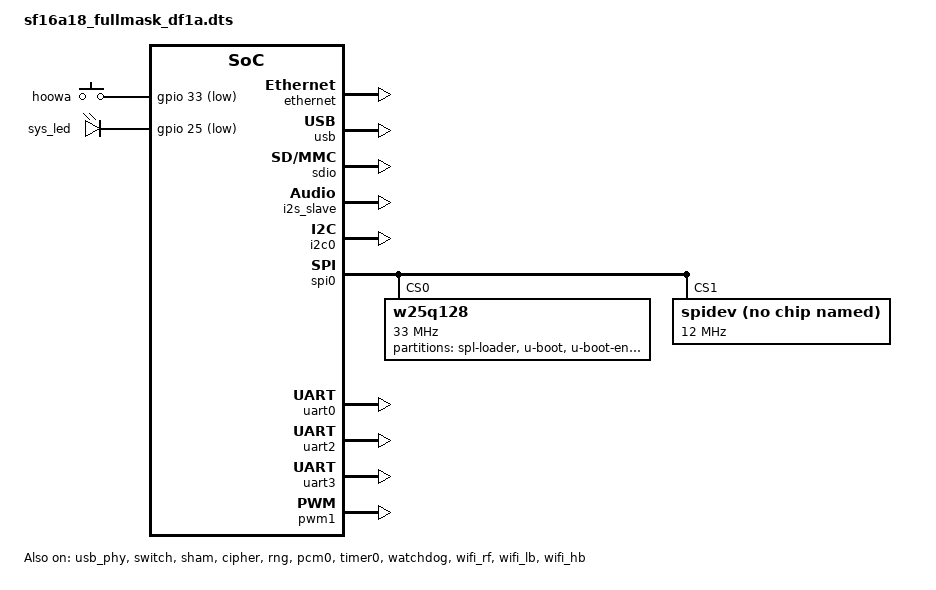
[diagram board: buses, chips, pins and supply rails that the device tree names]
/dts-v1/;

#include "sf16a18_full_mask.dtsi"
#include "sf16a18-thermal.dtsi"


/ {
	#address-cells = <1>;
	#size-cells = <1>;
	compatible = "siflower,sf16a18-soc";

	eth0-led {
		compatible = "eth-led";
		pinctrl-names = "default",  "gpio";
		pinctrl-0 = <&eth0_led>;
		pinctrl-1 = <&eth0_led_gpio>;
		eth0 {
			label = "eth_led0";
			gpios = <&gpio 55 1>;
			default-state = "on";
		};
	};

	eth1-led {
		compatible = "eth-led";
		pinctrl-names = "default",  "gpio";
		pinctrl-0 = <&eth1_led>;
		pinctrl-1 = <&eth1_led_gpio>;
		eth1 {
			label = "eth_led1";
			gpios = <&gpio 56 1>;
			default-state = "on";
		};
	};

        eth2-led {
                compatible = "eth-led";
                pinctrl-names = "default",  "gpio";
                pinctrl-0 = <&eth2_led>;
                pinctrl-1 = <&eth2_led_gpio>;
                eth2 {
                        label = "eth_led2";
                        gpios = <&gpio 57 1>;
                        default-state = "on";
                };
        };

};

/* 启用USB PHY */
&usb_phy{
	status = "okay";
};

/* 芯片内置以太网划分 */
&ethernet {
	shutdown-portlist = "wll**";
        led-on-off-time = /bits/ 16 <0xff 0x2ff>;
	status = "okay";
	smp-affinity = <2>;
};

&switch{
	sfax8,port-map = "wll**";
	status = "okay";
	smp-affinity = <2>;
};

&sham {
	status = "okay";
};

&cipher {
	status = "okay";
};

&rng {
	status = "okay";
};

&gdma {
	status = "okay";
};

/* USB接口 */
&usb {
	status = "okay";
};

/* EMMC存储器，DF1A没有 */
&emmc {
	status = "disabled";
};

/* SD1接口，用作TF卡 */
&sdio {
	status = "okay";
};

/* IIS1=31 32 (RS485冲突)   33 34 35(PG3组的GPIO冲突)，关闭 */
&i2s_master {
	status = "disabled";
};

/* IIS0=26 27 28 29 30，PG2组，保留IIS0功能 */
&i2s_slave {
	status = "okay";
};

/* This is used to set voltage during dvfs.
 * You should first know which pmu is in use, and
 * remove the default core-voltage set in pmu dts.
 */
/*
&cpu0 {
       cpu0-supply = <&rn5t567_core>;
       dcdc0-maxv = <1000000>;
};
*/


/* I2C0=20 21 启用PG1 */
&i2c0 {
	status = "okay";
	#address-cells = <1>;
	#size-cells = <0>;
/*	/include/	"sf16a18_pmu.dtsi"*/
};

/* I2C1=22 23(PG1组UART2冲突)，关闭 */
&i2c1 {
	status = "disabled";
};

/* I2C2=24 25(与32Khz和SYS_LED冲突)，关闭 */
&i2c2 {
	status = "disabled";
};

&spi0 {
	status = "okay";
	//use-dma;
	dmas = <&gdma 10
	&gdma 11>;
	dma-names = "tx", "rx";

	#address-cells = <1>;
	#size-cells = <0>;

	w25q128@0 {
		compatible = "w25q128";
		reg = <0>;	/* chip select */
		spi-max-frequency = <33000000>;

		bank-width = <2>;
		device-width = <2>;
		#address-cells = <1>;
		#size-cells = <1>;

		partition@0 {
			label = "spl-loader";
			reg = <0x0 0x20000>; /* 128k */
			read-only;
		};

		partition@20000 {
			label = "u-boot";
			reg = <0x20000 0x60000>; /* 384k */
		};

		partition@80000 {
			label = "u-boot-env";
			reg = <0x80000 0x10000>; /* 64k */
		};

		factory:partition@90000 {
			label = "factory";
			reg = <0x90000 0x10000>; /* 64k */
		};

		partition@a0000 {
			label = "firmware";
			reg = <0xa0000 0xf60000>; /* 640k-16M */
		};
	};

	spidev: spi@8200000 {
		compatible = "rohm,dh2228fv";
		reg = <1>;
		clock = <50000000>;
		spi-cpha;
		spi-cpol;
		spi-max-frequency=<12000000>;
	};
};

/* 核心板调试接口 */
&uart0 {
	status = "okay";
};

/* IO 26 27 28 29 30，与IIS0定义为PG2组冲突，关闭 */
&uart1 {
	status = "disabled";
};

/* IO 22 23 24 25，只启用22 23两个IO(PG1组)，24 25(与32Khz、SYS_LED冲突，不启用) */
&uart2 {
	pinctrl-0 = <&uart2_tx &uart2_rx>;
	status = "okay";
};

/* IO 31 32 34 35 只启用31 32 RS485接口，34 35(与PG3组的GPIO冲突，不启用) */
&uart3 {
	pinctrl-0 = <&uart3_tx &uart3_rx>;
	status = "okay";
};

/* 参考iis0的说明，不知道为啥i2s和pcm0都一起启动了(PG2组) */
&pcm0 {
	status = "okay";
};

/* 与WIFI_LED冲突disable */
&pwm0 {
	status = "disabled";
};

/* IO 37 启用在PG3组的PWM1 */
&pwm1 {
	status = "okay";
};

&timer0 {
	status = "okay";
};

&watchdog {
	status = "okay";
};

/* IO 35(与PG3组冲突) 62 ，关闭 */
&spdif
{
	status = "disabled";
};

&wifi_rf {
	status = "okay";
	gpio-expa = <&gpio 51 0>;
	/*for new evb board,gpio use different map with that in p10h board*/
	expa_map_type = <2>;
};

&wifi_lb {
	status = "okay";

	#address-cells = <1>;
	#size-cells = <0>;
	gpio-leds = <&gpio 36 0>;
	smp-affinity = <2>;
};

&wifi_hb {
	status = "okay";

	#address-cells = <1>;
	#size-cells = <0>;
	gpio-leds = <&gpio 36 0>;
	smp-affinity = <3>;
};

/* 按键演示 */
&gpio_keys {
        status = "okay";

        hoowa@33 {
                label = "hoowa";
                /*linux,input-type = <0x5>;*/
                linux,code = <0x102>;
                gpios = <&gpio 33 1>;
                poll-interval = <10>;
                debounce-interval = <20>;
        };
};

/* LED灯演示 */
&leds {
        status = "okay";
        sys_led {
                label = "sys_led";
                gpios = <&gpio 25 1>;
        };
};
